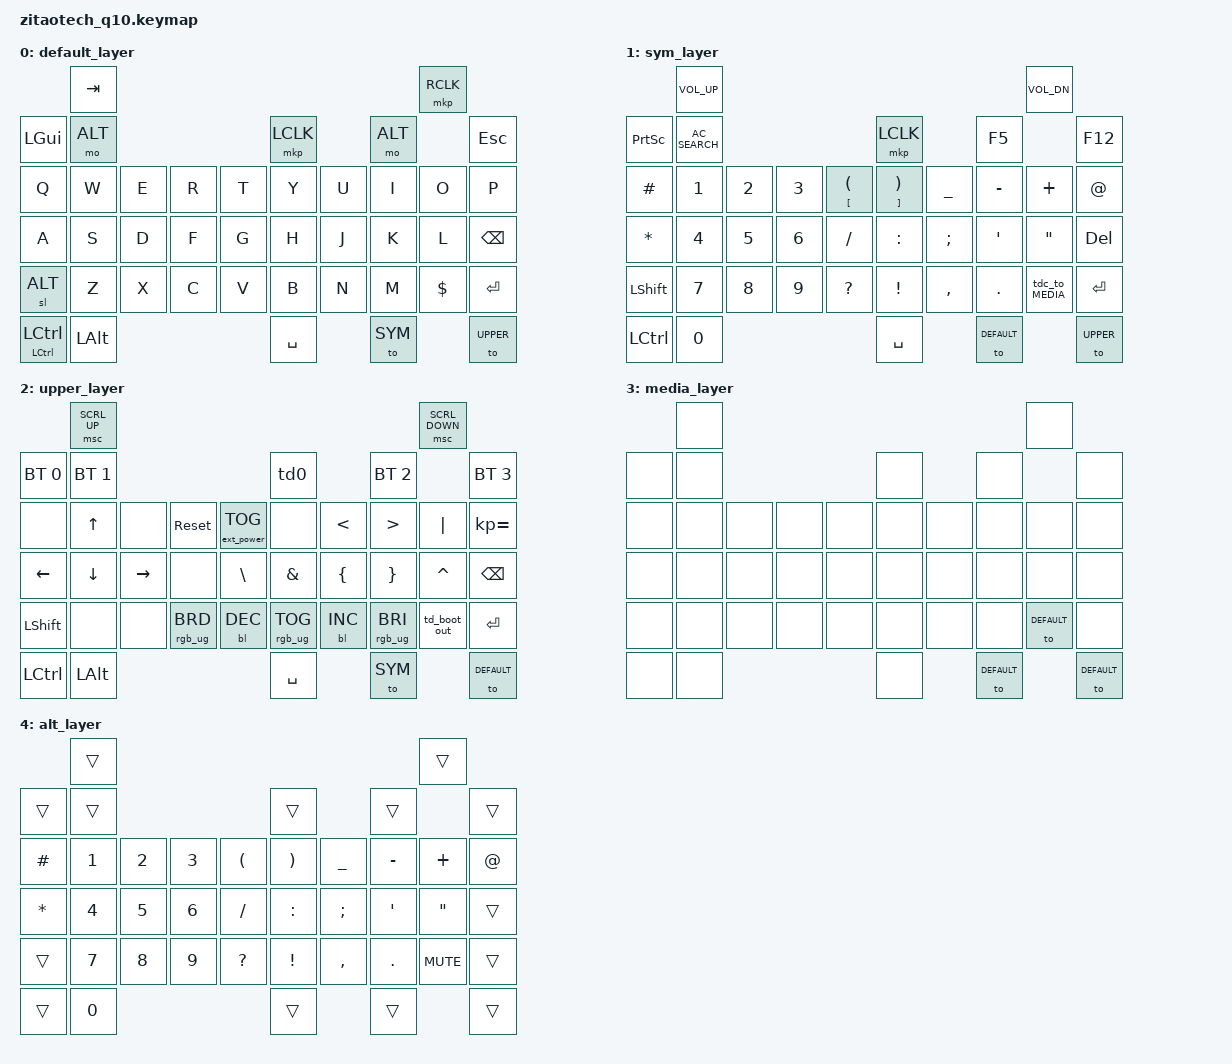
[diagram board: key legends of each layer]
/*
 * Copyright (c) 2023 ZitaoTech
 *
 * SPDX-License-Identifier: MIT
 */

/* Personal config fork — julyankb, started 2026-05-20 */

#include <behaviors.dtsi>
#include <dt-bindings/zmk/keys.h>
#include <dt-bindings/zmk/bt.h>
#include <dt-bindings/zmk/outputs.h>
#include <dt-bindings/zmk/mouse.h>
#include <dt-bindings/zmk/backlight.h>
#include <dt-bindings/zmk/ext_power.h>
#include <dt-bindings/zmk/rgb.h>


#include <zephyr/dt-bindings/input/input-event-codes.h>
#include <dt-bindings/zmk/keys.h>

#define DEFAULT 0
#define SYM 1
#define UPPER 2
#define MEDIA 3
#define ALT 4

#define SL_TO(layer) &sl_to layer layer //tap -> sticky layer, double tap -> to layer

&sl {
    release-after-ms = <3000>;
    };


/ {
    behaviors {
        td0: tap_dance_0 {
            compatible = "zmk,behavior-tap-dance";
            #binding-cells = <0>;
            tapping-term-ms = <400>;
            bindings = <&mkp LCLK>, <&bt BT_CLR>;
        };
    };
    behaviors {
        td_boot_out: td_boot_out {
            compatible = "zmk,behavior-tap-dance";
            #binding-cells = <0>;
            tapping-term-ms = <400>;           
            bindings = <&bootloader>, <&out OUT_TOG>;
        };
    };
    behaviors {
        tdc_to_SYM: td_comma_to_layer {
            compatible = "zmk,behavior-tap-dance";
            #binding-cells = <0>;
            tapping-term-ms = <400>;
            bindings = <&mt DLLR SEMI>, <&to SYM>;
        };
    };
    behaviors {
        tdc_to_MEDIA: td_mute_to_layer {
            compatible = "zmk,behavior-tap-dance";
            #binding-cells = <0>;
            tapping-term-ms = <400>;
            bindings = <&kp C_MUTE>, <&to MEDIA>;
        };
    };
    behaviors {
        td1: tap_stickylayer_doubletap_tolayer_1 {
            compatible = "zmk,behavior-tap-dance";
            #binding-cells = <0>;
            tapping-term-ms = <400>;
            bindings = <&sl 1>, <&to 1>;
        };
    };
    behaviors {
        td2: tap_stickylayer_doubletap_tolayer_2 {
            compatible = "zmk,behavior-tap-dance";
            #binding-cells = <0>;
            tapping-term-ms = <400>;
            bindings = <&sl 2>, <&to 2>;
        };
    };
    behaviors {
    sk_kp: behavior_sk_kp {
        compatible = "zmk,behavior-hold-tap";
        #binding-cells = <2>;
        flavor = "hold-preferred";      
        tapping-term-ms = <400>;       
        bindings = <&kp &sk>;          /* hold=kp, tap=sticky key */
        };
    };
    behaviors {
        hm: homerow_mods {
            compatible = "zmk,behavior-hold-tap";
            #binding-cells = <2>;
            tapping-term-ms = <500>;
            bindings = <&out &kp>;
        };
    };

    keymap {
        compatible = "zmk,keymap";

        default_layer {

            bindings = <
//         --------------------------------------------------------------------------------------------------------------------------         
//         |    Shoulder Key1    |                                                                             |    Shoulder Key2    |     
// |         Call key      |      Blackberry Key        |    Trackpad    |             Back Key                |             Endcall Key          |
// |     Q      |     W    |     E    |     R    |      T      |       Y        |       U        |        I        |       O      |      P        |     
// |     A      |     S    |     D    |     F    |      G      |       H        |       J        |        K        |       L      |      ←        |  
// |     alt    |     Z    |     X    |     C    |      V      |       B        |       N        |        M        |       $      |    Enter      |   
//        |         aA     |         0           |           SPACE              |         SYM         |        aA          |       
//        -----------------------------------------------------------------------------------------------------------------

                 &kp TAB                                                                                            &mkp RCLK
    &kp LGUI                &mo ALT                             &mkp LCLK                          &mo ALT                           &kp ESC
    &kp Q              &kp W      &kp E       &kp R     &kp T         &kp Y             &kp U            &kp I            &kp O            &kp P
    &kp A              &kp S      &kp D       &kp F     &kp G         &kp H             &kp J            &kp K            &kp L            &kp BSPC
    &sl ALT            &kp Z      &kp X       &kp C     &kp V         &kp B             &kp N            &kp M            &kp DLLR         &kp ENTER
    &sk_kp LCTRL  LCTRL     &kp LALT                                  &kp SPACE                          &to SYM                           &to UPPER 
            >;
        };

        sym_layer {

            bindings = <        
                 &kp C_VOL_UP                                                                                       &kp C_VOL_DN
    &kp PSCRN               &kp C_AC_SEARCH                     &mkp LCLK                          &kp F5                            &kp F12 
    &kp HASH     &kp N1     &kp N2      &kp N3    &mt LBKT LPAR &mt RBKT RPAR     &kp UNDER        &kp MINUS        &kp PLUS         &kp AT
    &kp STAR     &kp N4     &kp N5      &kp N6    &kp SLASH     &kp COLON         &kp SEMI         &kp APOS         &kp DQT          &kp DEL
    &kp LSHFT    &kp N7     &kp N8      &kp N9    &kp QMARK     &kp EXCL          &kp COMMA        &kp DOT          &tdc_to_MEDIA    &kp ENTER
    &kp LCTRL               &kp N0                              &kp SPACE                          &to DEFAULT                       &to UPPER
            >;
        };

        upper_layer {

            bindings = <
                 &msc SCRL_UP                                                                                       &msc SCRL_DOWN
    &bt BT_SEL 0            &bt BT_SEL 1                             &td0                           &bt BT_SEL 2                     &bt BT_SEL 3
    &none        &kp UP     &none       &sys_reset      &ext_power EP_TOG   &none            &kp LT           &kp GT           &kp PIPE         &kp KP_EQUAL
    &kp LEFT     &kp DOWN   &kp RIGHT   &none           &kp BSLH            &kp AMPS         &kp LBRC         &kp RBRC         &kp CARET        &kp BSPC
    &kp LSHFT    &none      &none       &rgb_ug RGB_BRD &bl BL_DEC          &rgb_ug RGB_TOG  &bl BL_INC       &rgb_ug RGB_BRI  &td_boot_out     &kp ENTER
    &kp LCTRL               &kp LALT                                        &kp  SPACE                        &to SYM                           &to DEFAULT
            >;
        };

        media_layer {

            bindings = <
                 &none                                                                                        &none
    &none                  &none                               &none                         &none                            &none
    &none        &none     &none       &none      &none        &none         &none           &none           &none            &none
    &none        &none     &none       &none      &none        &none         &none           &none           &none            &none
    &none        &none     &none       &none      &none        &none         &none           &none           &to DEFAULT      &none
    &none                  &none                               &none                         &to DEFAULT                      &to DEFAULT
            >;
        };

        alt_layer {
            // BBQ10 alt layer, two ways to activate:
            //   1. Hold green △ (RC 8,3) or magenta ✕ (RC 8,4): &mo ALT — collision-free hold.
            //   2. Tap the printed "alt" key (RC 4,0): &sl ALT — sticky for next single keypress.
            //      The 3s &sl release-after timeout (line 30) applies if no follow-up.
            // Use whichever style fits the moment. The printed alt key is no longer Alt-modifier.
            // Keys with a printed alt-label produce that label here; others &trans through to DEFAULT.
            bindings = <
                 &trans                                                                                       &trans
    &trans                  &trans                              &trans                         &trans                            &trans
    &kp HASH     &kp N1     &kp N2      &kp N3     &kp LPAR     &kp RPAR      &kp UNDER       &kp MINUS       &kp PLUS         &kp AT
    &kp STAR     &kp N4     &kp N5      &kp N6     &kp SLASH    &kp COLON     &kp SEMI        &kp APOS        &kp DQT          &trans
    &trans       &kp N7     &kp N8      &kp N9     &kp QMARK    &kp EXCL      &kp COMMA       &kp DOT         &kp C_MUTE       &trans
    &trans                  &kp N0                              &trans                         &trans                            &trans
            >;
        };
    };
};
